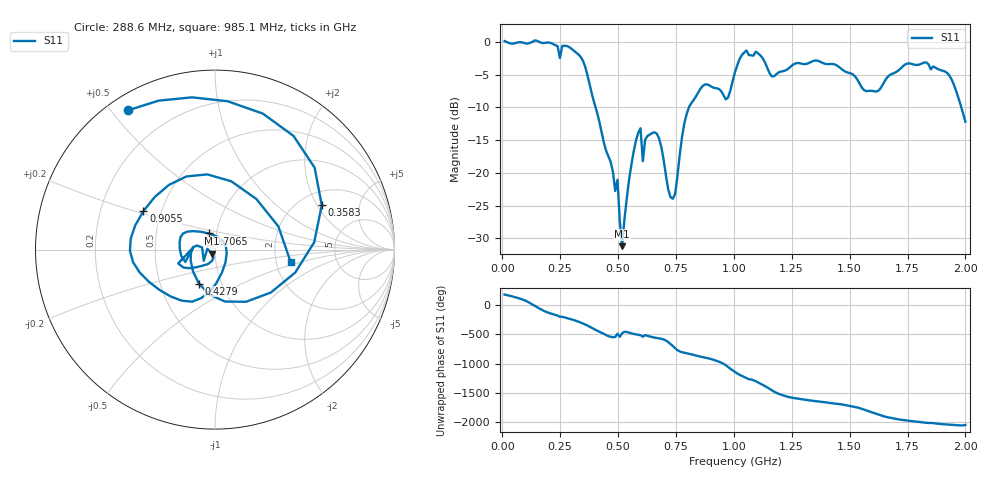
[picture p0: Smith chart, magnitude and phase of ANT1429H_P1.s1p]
!Created with skrf (http://scikit-rf.org).
# Hz S RI R 50.0
!freq ReS11 ImS11
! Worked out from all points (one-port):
!   201 points, 10 MHz to 2 GHz, reference 50 ohm
!   lowest |S11| = -31.2 dB at 517.5 MHz (marker M1), VSWR 1.06, Z = 48.3 - j2.14 ohm
!   |S11| at or under -10 dB: 402.9 MHz to 805.7 MHz (402.8 MHz wide, 66.7 % of centre); 1.982 GHz to end of sweep
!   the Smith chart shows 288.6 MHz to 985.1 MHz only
!   S11 on the Smith chart (normalised r, x): 288.6 MHz: 0.06, +0.55; 358.2 MHz: 2.60, +2.19; 427.9 MHz: 0.78, -0.31; 706.5 MHz: 0.92, +0.17; 905.5 MHz: 0.40, +0.21; 985.1 MHz: 2.41, -0.40
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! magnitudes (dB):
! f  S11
! 10 MHz  0.1
! 258.8 MHz  -0.6
! 288.6 MHz  -0.8
! 358.2 MHz  -3.8
! 427.9 MHz  -13.6
! 487.6 MHz  -22.8
! 497.6 MHz  -21.0
! 507.5 MHz  -27.3
! 517.5 MHz  -31.2
! 557.2 MHz  -18.8
! 597 MHz  -13.2
! 607 MHz  -18.2
! 666.7 MHz  -14.0
! 706.5 MHz  -20.3
! 736.4 MHz  -23.9
! 756.2 MHz  -20.5
! 806 MHz  -10.0
! 905.5 MHz  -6.9
! 985.1 MHz  -7.4
! 1.005 GHz  -4.6
! 1.055 GHz  -1.3
! 1.164 GHz  -5.3
! 1.254 GHz  -3.5
! 1.502 GHz  -4.8
! 1.612 GHz  -7.6
! 1.751 GHz  -3.3
! 1.92 GHz  -4.7
! 2 GHz  -12.2
